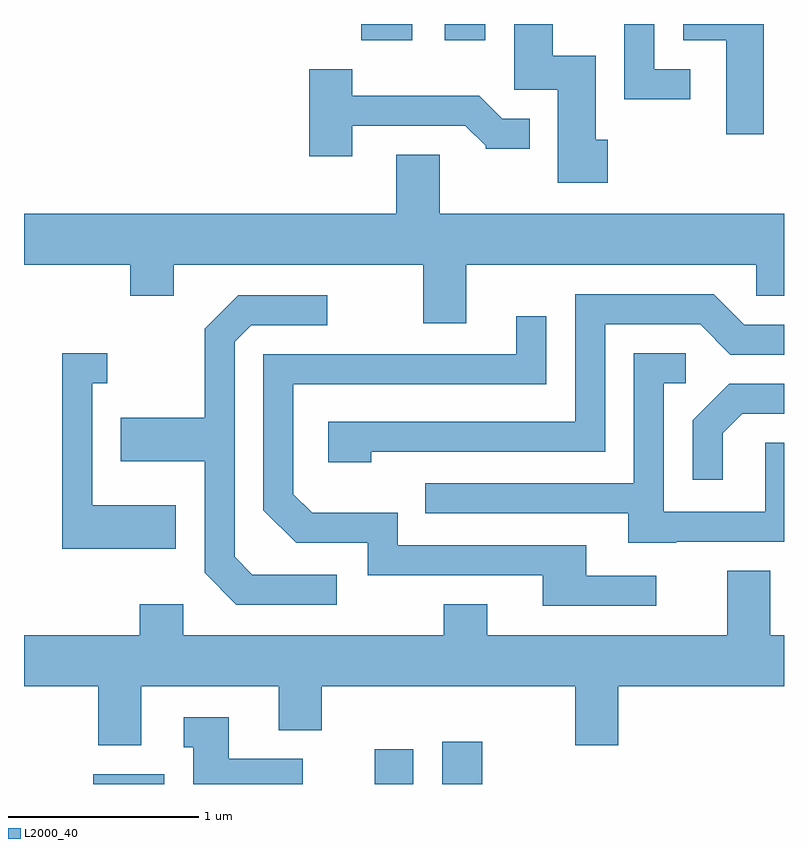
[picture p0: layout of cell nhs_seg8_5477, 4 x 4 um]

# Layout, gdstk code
import gdstk
lib = gdstk.Library(unit=1e-6, precision=1e-09)
def R(c, l, rs):  # rectangles x0, y0, x1, y1
    for r in rs: c.add(gdstk.rectangle(r[:2], r[2:], *l))
def P(c, l, *ps):  # polygons
    for p in ps: c.add(gdstk.Polygon(p, *l))
L2000_40 = (2000, 40)

nhs_seg8_5477 = lib.new_cell('nhs_seg8_5477')
R(nhs_seg8_5477, L2000_40, [(349.976,1840.342,350.349,1840.394), (351.456,1840.342,351.659,1840.524), (351.811,1840.342,352.024,1840.564), (351.386,1844.256,351.654,1844.342), (351.826,1844.256,352.039,1844.342)])
P(nhs_seg8_5477, L2000_40, [(352.684,1843.734),(352.619,1843.734),(352.619,1844.174),(352.394,1844.174),(352.394,1844.342),(352.191,1844.342),(352.191,1843.996),(352.421,1843.996),(352.421,1843.506),(352.684,1843.506)],
  [(353.118,1844.104),(352.929,1844.104),(352.929,1844.342),(352.771,1844.342),(352.771,1843.946),(353.118,1843.946)],
  [(353.504,1844.342),(353.081,1844.342),(353.081,1844.256),(353.306,1844.256),(353.306,1843.761),(353.504,1843.761)],
  [(351.339,1843.806),(351.934,1843.806),(352.04,1843.7),(352.04,1843.686),(352.273,1843.686),(352.273,1843.844),(352.127,1843.844),(352.007,1843.964),(351.339,1843.964),(351.339,1844.104),(351.111,1844.104),(351.111,1843.646),(351.339,1843.646)],
  [(351.939,1843.076),(353.466,1843.076),(353.466,1842.911),(353.611,1842.911),(353.611,1843.344),(351.799,1843.344),(351.799,1843.654),(351.571,1843.654),(351.571,1843.344),(349.611,1843.344),(349.611,1843.076),(350.171,1843.076),(350.171,1842.911),(350.399,1842.911),(350.399,1843.076),(351.711,1843.076),(351.711,1842.766),(351.939,1842.766)],
  [(351.439,1842.091),(352.669,1842.091),(352.669,1842.761),(353.169,1842.761),(353.329,1842.601),(353.611,1842.601),(353.611,1842.759),(353.402,1842.759),(353.242,1842.919),(352.511,1842.919),(352.511,1842.249),(351.211,1842.249),(351.211,1842.036),(351.439,1842.036)],
  [(351.258,1841.444),(350.812,1841.444),(350.719,1841.537),(350.719,1842.669),(350.807,1842.756),(351.208,1842.756),(351.208,1842.914),(350.739,1842.914),(350.561,1842.737),(350.561,1842.269),(350.121,1842.269),(350.121,1842.041),(350.561,1842.041),(350.561,1841.454),(350.729,1841.286),(351.258,1841.286)],
  [(352.938,1841.439),(352.569,1841.439),(352.569,1841.599),(351.579,1841.599),(351.579,1841.769),(351.127,1841.769),(351.029,1841.867),(351.029,1842.446),(352.359,1842.446),(352.359,1842.803),(352.201,1842.803),(352.201,1842.604),(350.871,1842.604),(350.871,1841.784),(351.044,1841.611),(351.421,1841.611),(351.421,1841.441),(352.341,1841.441),(352.341,1841.281),(352.938,1841.281)],
  [(350.409,1841.809),(349.969,1841.809),(349.969,1842.451),(350.048,1842.451),(350.048,1842.609),(349.811,1842.609),(349.811,1841.581),(350.409,1841.581)],
  [(353.045,1841.616),(353.611,1841.616),(353.611,1842.139),(353.511,1842.139),(353.511,1841.774),(352.979,1841.774),(352.979,1842.451),(353.093,1842.451),(353.093,1842.609),(352.821,1842.609),(352.821,1841.924),(351.723,1841.924),(351.723,1841.766),(352.791,1841.766),(352.791,1841.611),(353.045,1841.611)],
  [(353.289,1842.189),(353.392,1842.291),(353.611,1842.291),(353.611,1842.449),(353.324,1842.449),(353.131,1842.257),(353.131,1841.943),(353.289,1841.943)],
  [(350.229,1840.856),(350.951,1840.856),(350.951,1840.626),(351.179,1840.626),(351.179,1840.856),(352.511,1840.856),(352.511,1840.546),(352.739,1840.546),(352.739,1840.856),(353.611,1840.856),(353.611,1841.124),(353.539,1841.124),(353.539,1841.464),(353.311,1841.464),(353.311,1841.124),(352.049,1841.124),(352.049,1841.289),(351.821,1841.289),(351.821,1841.124),(350.449,1841.124),(350.449,1841.289),(350.221,1841.289),(350.221,1841.124),(349.611,1841.124),(349.611,1840.856),(350.001,1840.856),(350.001,1840.546),(350.229,1840.546)],
  [(351.079,1840.474),(350.689,1840.474),(350.689,1840.694),(350.453,1840.694),(350.453,1840.536),(350.501,1840.536),(350.501,1840.342),(351.079,1840.342)])

lib.write_gds('nhs_seg8_5477.gds')
